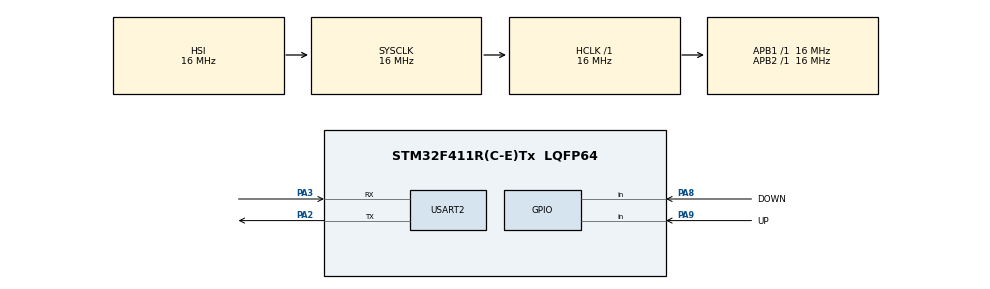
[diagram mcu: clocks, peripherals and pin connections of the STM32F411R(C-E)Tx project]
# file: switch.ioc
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Mcu.Family=STM32F4
Mcu.Name=STM32F411R(C-E)Tx
Mcu.Package=LQFP64
NVIC.PriorityGroup=NVIC_PRIORITYGROUP_4
PA2.Mode=Asynchronous
PA2.Signal=USART2_TX
PA3.Mode=Asynchronous
PA3.Signal=USART2_RX
PA8.GPIO_Label=DOWN
PA8.GPIO_PuPd=GPIO_PULLUP
PA8.Signal=GPIO_Input
PA9.GPIO_Label=UP
PA9.GPIO_PuPd=GPIO_PULLUP
PA9.Signal=GPIO_Input
ProjectManager.HeapSize=0x200
ProjectManager.StackSize=0x400
ProjectManager.TargetToolchain=STM32CubeIDE
RCC.AHBFreq_Value=16000000
RCC.APB1Freq_Value=16000000
RCC.APB2Freq_Value=16000000
RCC.CortexFreq_Value=16000000
RCC.HSE_VALUE=25000000
RCC.HSI_VALUE=16000000
RCC.LSE_VALUE=32768
RCC.SYSCLKFreq_VALUE=16000000
RCC.VCOOutputFreq_Value=192000000
USART2.VirtualMode=VM_ASYNC
board=custom

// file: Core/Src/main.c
/* USER CODE BEGIN Header */
/**
 ******************************************************************************
 * @file           : main.c
 * @brief          : Main program body
 ******************************************************************************
 * @attention
 *
 * Copyright (c) 2024 STMicroelectronics.
 * All rights reserved.
 *
 * This software is licensed under terms that can be found in the LICENSE file
 * in the root directory of this software component.
 * If no LICENSE file comes with this software, it is provided AS-IS.
 *
 ******************************************************************************
 */
/* USER CODE END Header */
#include "main.h"

/* USER CODE BEGIN Includes */
#include "uart.h"
/* USER CODE END Includes */

UART_HandleTypeDef huart2;

void SystemClock_Config(void);
static void MX_GPIO_Init(void);
static void MX_USART2_UART_Init(void);

/* USER CODE BEGIN 0 */
_Bool stateSwitchA;
_Bool stateSwitchB;

void SystickCallback(){
	static uint32_t bufferSwitch[2];
	// buffer update
	bufferSwitch[0] = bufferSwitch[0] << 1;
	bufferSwitch[1] = bufferSwitch[1] << 1; // LSB -> 0
	bufferSwitch[0] |= HAL_GPIO_ReadPin(UP_GPIO_Port, UP_Pin);
	bufferSwitch[1] |= HAL_GPIO_ReadPin(DOWN_GPIO_Port, DOWN_Pin);
	// buffer judgement
	if (bufferSwitch[0] == 0) stateSwitchA &= 0;
	if (bufferSwitch[0] == 0xFFFFFFFF) stateSwitchA |= 1;
	if (bufferSwitch[1] == 0) stateSwitchB &= 0;
	if (bufferSwitch[1] == 0xFFFFFFFF) stateSwitchB |= 1;
}
/* USER CODE END 0 */

int main(void) {

	/* MCU Configuration--------------------------------------------------------*/

	/* Reset of all peripherals, Initializes the Flash interface and the Systick. */
	HAL_Init();

	/* Configure the system clock */
	SystemClock_Config();

	/* Initialize all configured peripherals */
	MX_GPIO_Init();
	MX_USART2_UART_Init();
	/* USER CODE BEGIN 2 */
	initUART(&huart2);

	/* USER CODE END 2 */

	/* Infinite loop */
	/* USER CODE BEGIN WHILE */
	while (1) {
		static int count = 0;
		// method 3 : edge dection
		static _Bool oldStateA, oldStateB;
		if(stateSwitchA != oldStateA){
			if(stateSwitchA == 0){ // falling edge
				count++;
				printf("%d\n", count);
			}else if(stateSwitchA == 1){ // rising edge

			}
			oldStateA = stateSwitchA;
		}
		if(stateSwitchB != oldStateB){ // falling edge
			if(stateSwitchB == 0){
				count--;
				printf("%d\n", count);

			}else if(stateSwitchB == 1){ // rising edge

			}
			oldStateB = stateSwitchB;
		}
		/* USER CODE END WHILE */

	}
}

void SystemClock_Config(void) {
	RCC_OscInitTypeDef RCC_OscInitStruct = { 0 };
	RCC_ClkInitTypeDef RCC_ClkInitStruct = { 0 };

	/** Configure the main internal regulator output voltage
	 */
	__HAL_RCC_PWR_CLK_ENABLE();
	__HAL_PWR_VOLTAGESCALING_CONFIG(PWR_REGULATOR_VOLTAGE_SCALE1);

	/** Initializes the RCC Oscillators according to the specified parameters
	 * in the RCC_OscInitTypeDef structure.
	 */
	RCC_OscInitStruct.OscillatorType = RCC_OSCILLATORTYPE_HSI;
	RCC_OscInitStruct.HSIState = RCC_HSI_ON;
	RCC_OscInitStruct.HSICalibrationValue = RCC_HSICALIBRATION_DEFAULT;
	RCC_OscInitStruct.PLL.PLLState = RCC_PLL_NONE;
	if (HAL_RCC_OscConfig(&RCC_OscInitStruct) != HAL_OK) {
		Error_Handler();
	}

	/** Initializes the CPU, AHB and APB buses clocks
	 */
	RCC_ClkInitStruct.ClockType = RCC_CLOCKTYPE_HCLK | RCC_CLOCKTYPE_SYSCLK
			| RCC_CLOCKTYPE_PCLK1 | RCC_CLOCKTYPE_PCLK2;
	RCC_ClkInitStruct.SYSCLKSource = RCC_SYSCLKSOURCE_HSI;
	RCC_ClkInitStruct.AHBCLKDivider = RCC_SYSCLK_DIV1;
	RCC_ClkInitStruct.APB1CLKDivider = RCC_HCLK_DIV1;
	RCC_ClkInitStruct.APB2CLKDivider = RCC_HCLK_DIV1;

	if (HAL_RCC_ClockConfig(&RCC_ClkInitStruct, FLASH_LATENCY_0) != HAL_OK) {
		Error_Handler();
	}
}

static void MX_USART2_UART_Init(void) {

	huart2.Instance = USART2;
	huart2.Init.BaudRate = 115200;
	huart2.Init.WordLength = UART_WORDLENGTH_8B;
	huart2.Init.StopBits = UART_STOPBITS_1;
	huart2.Init.Parity = UART_PARITY_NONE;
	huart2.Init.Mode = UART_MODE_TX_RX;
	huart2.Init.HwFlowCtl = UART_HWCONTROL_NONE;
	huart2.Init.OverSampling = UART_OVERSAMPLING_16;
	if (HAL_UART_Init(&huart2) != HAL_OK) {
		Error_Handler();
	}

}

static void MX_GPIO_Init(void) {
	GPIO_InitTypeDef GPIO_InitStruct = { 0 };

	/* GPIO Ports Clock Enable */
	__HAL_RCC_GPIOA_CLK_ENABLE();

	/*Configure GPIO pins : DOWN_Pin UP_Pin */
	GPIO_InitStruct.Pin = DOWN_Pin | UP_Pin;
	GPIO_InitStruct.Mode = GPIO_MODE_INPUT;
	GPIO_InitStruct.Pull = GPIO_PULLUP;
	HAL_GPIO_Init(GPIOA, &GPIO_InitStruct);

}

void Error_Handler(void) {
	__disable_irq();
	while (1) {
	}
}
